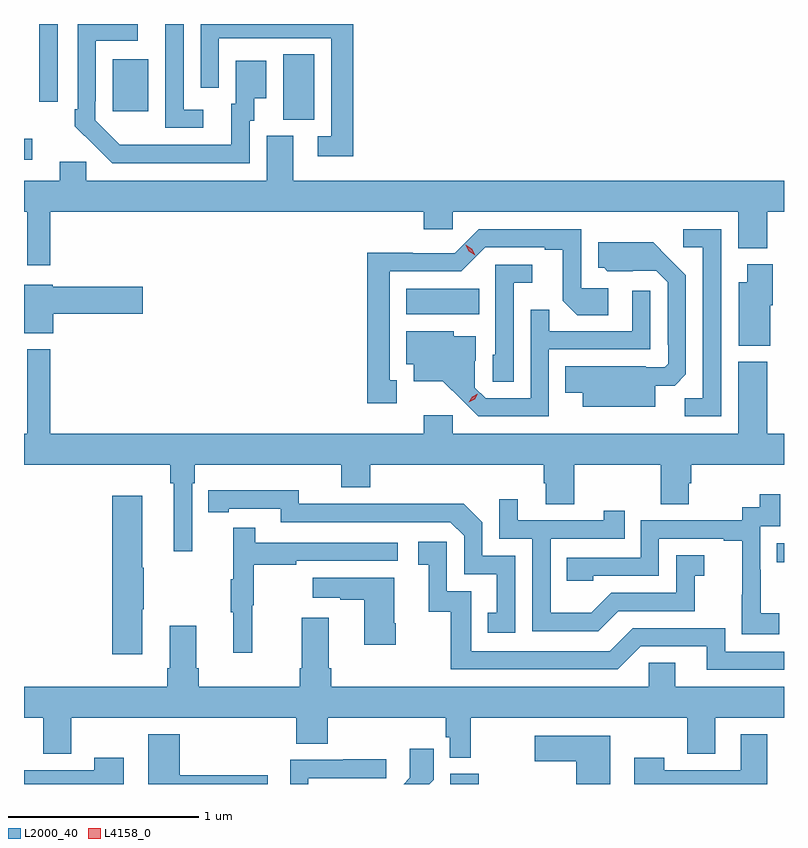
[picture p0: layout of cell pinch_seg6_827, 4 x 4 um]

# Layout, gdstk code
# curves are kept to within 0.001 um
import gdstk
lib = gdstk.Library(unit=1e-6, precision=1e-09)
def R(c, l, rs):  # rectangles x0, y0, x1, y1
    for r in rs: c.add(gdstk.rectangle(r[:2], r[2:], *l))
def P(c, l, *ps):  # polygons
    for p in ps: c.add(gdstk.Polygon(p, *l))
L2000_40 = (2000, 40)
L4158_0 = (4158, 0)

pinch_seg6_827 = lib.new_cell('pinch_seg6_827')
R(pinch_seg6_827, L2000_40, [(124.505,984.284,124.655,984.337), (126.223,985.45,126.262,985.551), (124.274,986.756,124.658,986.89), (122.262,987.57,122.305,987.679), (123.626,987.781,123.79,988.124), (122.729,987.825,122.917,988.099), (122.343,987.876,122.439,988.284)])
P(pinch_seg6_827, L2000_40, [(123.995,988.284),(123.193,988.284),(123.193,988.202),(123.192,988.202),(123.192,987.948),(123.288,987.948),(123.288,988.209),(123.879,988.209),(123.879,987.693),(123.807,987.693),(123.807,987.588),(123.995,987.588)],
  [(123.205,987.834),(123.102,987.834),(123.102,988.284),(123.005,988.284),(123.005,988.195),(123.006,988.195),(123.006,987.738),(123.205,987.738)],
  [(123.45,987.774),(123.475,987.774),(123.475,987.893),(123.538,987.893),(123.538,988.09),(123.377,988.09),(123.377,987.864),(123.353,987.864),(123.353,987.648),(122.766,987.649),(122.637,987.777),(122.637,987.877),(122.64,987.877),(122.64,988.197),(122.86,988.197),(122.86,988.284),(122.544,988.284),(122.544,987.835),(122.529,987.835),(122.529,987.747),(122.726,987.552),(123.45,987.552)],
  [(122.401,987.296),(124.367,987.296),(124.367,987.203),(124.518,987.203),(124.518,987.296),(126.02,987.296),(126.02,987.104),(126.173,987.104),(126.173,987.296),(126.262,987.296),(126.262,987.46),(123.679,987.46),(123.679,987.696),(123.539,987.696),(123.539,987.46),(122.589,987.46),(122.589,987.558),(122.45,987.558),(122.45,987.46),(122.262,987.46),(122.262,987.296),(122.279,987.296),(122.279,987.015),(122.401,987.015)],
  [(124.225,986.409),(124.186,986.409),(124.186,986.982),(124.563,986.982),(124.689,987.108),(125.003,987.108),(125.003,987.096),(125.097,987.096),(125.097,986.828),(125.173,986.752),(125.338,986.752),(125.338,986.892),(125.196,986.892),(125.196,987.204),(124.656,987.204),(124.53,987.078),(124.308,987.078),(124.308,987.08),(124.068,987.08),(124.068,986.289),(124.225,986.289)],
  [(125.931,987.204),(125.733,987.204),(125.733,987.108),(125.835,987.108),(125.835,986.315),(125.74,986.315),(125.74,986.22),(125.931,986.22)],
  [(125.584,986.381),(125.686,986.381),(125.745,986.44),(125.745,986.962),(125.573,987.136),(125.285,987.136),(125.285,987),(125.316,987),(125.332,986.984),(125.589,986.985),(125.649,986.925),(125.649,986.596),(125.652,986.596),(125.652,986.496),(125.634,986.478),(125.534,986.478),(125.534,986.482),(125.11,986.482),(125.11,986.342),(125.204,986.342),(125.204,986.27),(125.584,986.27)],
  [(126.19,986.805),(126.203,986.805),(126.203,987.019),(126.068,987.019),(126.068,986.926),(126.023,986.926),(126.023,986.591),(126.19,986.591)],
  [(124.839,986.921),(124.936,986.921),(124.936,987.018),(124.743,987.018),(124.743,986.544),(124.728,986.544),(124.728,986.401),(124.839,986.401)],
  [(122.416,986.759),(122.887,986.759),(122.887,986.901),(122.412,986.901),(122.412,986.911),(122.262,986.911),(122.262,986.657),(122.416,986.657)],
  [(125.025,986.571),(125.559,986.571),(125.559,986.881),(125.463,986.881),(125.463,986.667),(125.027,986.667),(125.027,986.78),(124.929,986.78),(124.929,986.313),(124.692,986.313),(124.635,986.37),(124.635,986.512),(124.639,986.512),(124.639,986.641),(124.524,986.641),(124.524,986.668),(124.274,986.668),(124.274,986.492),(124.313,986.492),(124.313,986.405),(124.465,986.405),(124.652,986.22),(125.025,986.22)],
  [(123.147,985.868),(123.161,985.868),(123.161,985.964),(123.932,985.964),(123.932,985.847),(124.085,985.847),(124.085,985.964),(124.997,985.964),(124.997,985.866),(125.009,985.866),(125.009,985.756),(125.157,985.756),(125.157,985.964),(125.614,985.964),(125.614,985.756),(125.761,985.756),(125.761,985.866),(125.774,985.866),(125.774,985.964),(126.262,985.964),(126.262,986.128),(126.173,986.128),(126.173,986.506),(126.02,986.506),(126.02,986.128),(124.518,986.128),(124.518,986.224),(124.367,986.224),(124.367,986.128),(122.401,986.128),(122.401,986.572),(122.279,986.572),(122.279,986.128),(122.262,986.128),(122.262,985.964),(123.031,985.964),(123.031,985.868),(123.05,985.868),(123.05,985.509),(123.147,985.509)],
  [(124.848,985.485),(124.674,985.485),(124.674,985.662),(124.576,985.76),(124.168,985.76),(124.168,985.758),(123.708,985.758),(123.708,985.831),(123.232,985.83),(123.232,985.714),(123.34,985.714),(123.34,985.734),(123.612,985.734),(123.612,985.662),(124.506,985.662),(124.578,985.59),(124.578,985.389),(124.751,985.389),(124.751,985.185),(124.702,985.185),(124.702,985.08),(124.848,985.08)],
  [(126.238,985.183),(126.14,985.183),(126.14,985.412),(126.138,985.412),(126.138,985.641),(126.243,985.641),(126.243,985.81),(126.135,985.81),(126.135,985.74),(126.042,985.74),(126.042,985.671),(125.508,985.671),(125.508,985.476),(125.119,985.476),(125.119,985.353),(125.259,985.353),(125.259,985.38),(125.604,985.38),(125.604,985.575),(125.945,985.575),(125.945,985.563),(126.041,985.563),(126.041,985.279),(126.04,985.279),(126.04,985.073),(126.238,985.073)],
  [(122.884,985.204),(122.892,985.204),(122.892,985.421),(122.884,985.421),(122.884,985.801),(122.726,985.801),(122.726,984.966),(122.884,984.966)],
  [(125.389,985.194),(125.793,985.194),(125.793,985.379),(125.842,985.379),(125.842,985.489),(125.694,985.489),(125.694,985.29),(125.352,985.29),(125.248,985.186),(125.034,985.186),(125.034,985.575),(125.423,985.575),(125.423,985.723),(125.312,985.723),(125.312,985.671),(124.861,985.671),(124.861,985.783),(124.764,985.783),(124.764,985.575),(124.938,985.575),(124.938,985.089),(125.284,985.089)],
  [(123.464,985.224),(123.472,985.224),(123.472,985.438),(123.695,985.438),(123.695,985.458),(124.228,985.458),(124.228,985.554),(123.479,985.554),(123.479,985.633),(123.362,985.633),(123.362,985.361),(123.351,985.361),(123.351,985.187),(123.362,985.187),(123.362,984.975),(123.464,984.975)],
  [(126.262,984.981),(125.952,984.981),(125.952,985.104),(125.466,985.104),(125.346,984.984),(124.617,984.984),(124.617,985.299),(124.488,985.299),(124.488,985.558),(124.338,985.558),(124.338,985.437),(124.391,985.437),(124.391,985.191),(124.509,985.191),(124.509,984.888),(125.388,984.888),(125.508,985.008),(125.855,985.008),(125.855,984.885),(126.262,984.885)],
  [(124.218,985.129),(124.21,985.129),(124.21,985.369),(123.783,985.369),(123.783,985.265),(123.926,985.265),(123.926,985.255),(124.052,985.255),(124.052,985.017),(124.218,985.017)],
  [(124.612,984.632),(125.752,984.632),(125.752,984.442),(125.899,984.442),(125.899,984.632),(126.262,984.632),(126.262,984.796),(125.689,984.796),(125.689,984.923),(125.55,984.923),(125.55,984.796),(123.878,984.796),(123.878,984.892),(123.865,984.892),(123.865,985.159),(123.725,985.159),(123.725,984.892),(123.713,984.892),(123.713,984.796),(123.182,984.796),(123.182,984.892),(123.169,984.892),(123.169,985.117),(123.029,985.117),(123.029,984.892),(123.017,984.892),(123.017,984.796),(122.262,984.796),(122.262,984.632),(122.363,984.632),(122.363,984.442),(122.511,984.442),(122.511,984.632),(123.695,984.632),(123.695,984.496),(123.86,984.496),(123.86,984.632),(124.483,984.632),(124.483,984.531),(124.503,984.531),(124.503,984.422),(124.612,984.422)],
  [(126.175,984.547),(126.035,984.547),(126.035,984.357),(125.631,984.357),(125.631,984.421),(125.475,984.421),(125.475,984.284),(126.175,984.284)],
  [(123.544,984.331),(123.082,984.331),(123.082,984.547),(122.915,984.547),(122.915,984.284),(123.544,984.284)],
  [(125.347,984.538),(124.95,984.538),(124.95,984.404),(125.168,984.404),(125.168,984.284),(125.347,984.284)],
  [(124.418,984.306),(124.418,984.469),(124.293,984.469),(124.293,984.317),(124.26,984.284),(124.396,984.284)],
  [(122.788,984.421),(122.632,984.421),(122.632,984.357),(122.262,984.357),(122.262,984.284),(122.788,984.284)],
  [(123.759,984.315),(124.168,984.315),(124.168,984.414),(123.943,984.414),(123.943,984.411),(123.663,984.411),(123.663,984.284),(123.759,984.284)])
P(pinch_seg6_827, L4158_0, [(124.603,986.293),(124.603,986.293),(124.62,986.323),(124.65,986.339),(124.65,986.339),(124.65,986.338),(124.634,986.308),(124.603,986.293)],
  [(124.636,987.068),(124.604,987.088),(124.587,987.121),(124.587,987.121),(124.588,987.121),(124.619,987.101),(124.636,987.068),(124.636,987.068)])

lib.write_gds('pinch_seg6_827.gds')
